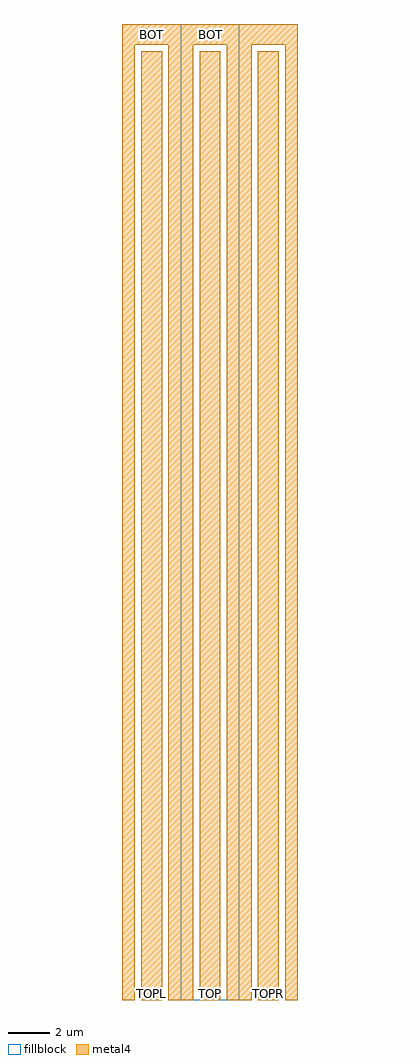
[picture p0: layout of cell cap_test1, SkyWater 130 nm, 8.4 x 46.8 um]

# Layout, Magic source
magic
tech sky130B
<< metal4 >>
rect 1580 4420 2420 4520
rect 1580 -160 1640 4420
rect 1670 -160 1770 4390
rect 1800 -160 1920 4420
rect 1950 -160 2050 4390
rect 2080 -160 2200 4420
rect 2230 -160 2330 4390
rect 2360 -160 2420 4420
<< fillblock >>
rect 1860 -160 2140 4520
<< labels >>
rlabel metal4 1950 -160 2050 -100 1 TOP
rlabel metal4 1920 4420 2080 4520 1 BOT
rlabel metal4 1640 4420 1800 4520 1 BOT
rlabel metal4 2230 -160 2330 -100 1 TOPR
rlabel metal4 1670 -160 1770 -100 1 TOPL
<< end >>
